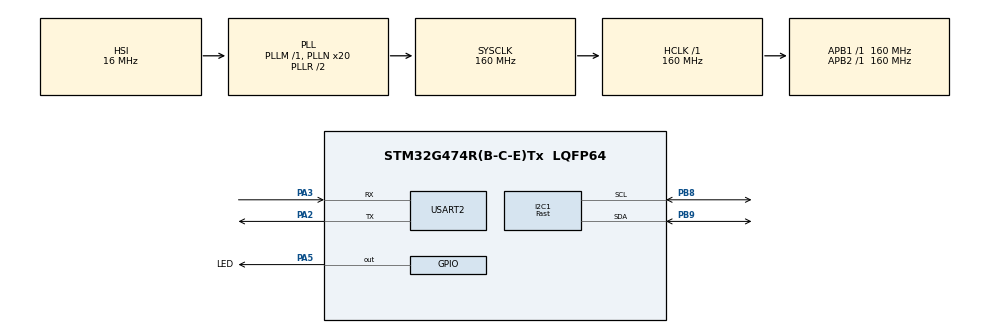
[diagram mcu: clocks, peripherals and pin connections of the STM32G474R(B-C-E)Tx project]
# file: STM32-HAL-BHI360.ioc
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I2C1.I2C_Speed_Mode=I2C_Fast
I2C1.Timing=0x00F07BFF
Mcu.Family=STM32G4
Mcu.Name=STM32G474R(B-C-E)Tx
Mcu.Package=LQFP64
NVIC.PriorityGroup=NVIC_PRIORITYGROUP_4
NVIC.TIM7_DAC_IRQn=true\:0\:0\:false\:false\:true\:true\:true\:true
PA13.Mode=Serial_Wire
PA13.Signal=SYS_JTMS-SWDIO
PA14.Mode=Serial_Wire
PA14.Signal=SYS_JTCK-SWCLK
PA2.Mode=Asynchronous
PA2.Signal=USART2_TX
PA3.Mode=Asynchronous
PA3.Signal=USART2_RX
PA5.GPIO_Label=LED
PA5.Signal=GPIO_Output
PB8-BOOT0.Mode=I2C
PB8-BOOT0.Signal=I2C1_SCL
PB9.Mode=I2C
PB9.Signal=I2C1_SDA
ProjectManager.HeapSize=0x2000
ProjectManager.StackSize=0x4000
ProjectManager.TargetToolchain=STM32CubeIDE
RCC.ADC12Freq_Value=160000000
RCC.ADC345Freq_Value=160000000
RCC.AHBFreq_Value=160000000
RCC.APB1Freq_Value=160000000
RCC.APB1TimFreq_Value=160000000
RCC.APB2Freq_Value=160000000
RCC.APB2TimFreq_Value=160000000
RCC.CortexFreq_Value=160000000
RCC.EXTERNAL_CLOCK_VALUE=12288000
RCC.HCLKFreq_Value=160000000
RCC.HSE_VALUE=8000000
RCC.HSI48_VALUE=48000000
RCC.HSI_VALUE=16000000
RCC.LSE_VALUE=32768
RCC.PLLN=20
RCC.SYSCLKFreq_VALUE=160000000
RCC.SYSCLKSource=RCC_SYSCLKSOURCE_PLLCLK
RCC.USBFreq_Value=160000000
RCC.VCOOutputFreq_Value=320000000
TIM7.PeriodNoDither=50000
TIM7.Prescaler=160
USART2.VirtualMode-Asynchronous=VM_ASYNC
VP_SYS_VS_DBSignals.Mode=DisableDeadBatterySignals
VP_TIM7_VS_ClockSourceINT.Mode=Enable_Timer
board=custom

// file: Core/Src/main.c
/* USER CODE BEGIN Header */
/**
  ******************************************************************************
  * @file           : main.c
  * @brief          : Main program body
  ******************************************************************************
  * @attention
  *
  * Copyright (c) 2024 STMicroelectronics.
  * All rights reserved.
  *
  * This software is licensed under terms that can be found in the LICENSE file
  * in the root directory of this software component.
  * If no LICENSE file comes with this software, it is provided AS-IS.
  *
  ******************************************************************************
  */
/* USER CODE END Header */
#include "main.h"

/* USER CODE BEGIN Includes */
#include <stdio.h>
#include <stdarg.h>

#include "common.h"
#include "bosch_imu.h"
/* USER CODE END Includes */

I2C_HandleTypeDef hi2c1;

TIM_HandleTypeDef htim7;

UART_HandleTypeDef huart2;

/* USER CODE BEGIN PV */
uint64_t TIM7_ITs = 0; // counter of microseconds timesource ITs

custom_printf_prt my_printf = NULL; // pointer to log output function

uint64_t last_result = 0;

uint8_t sensor_reports = 0;

extern float Heading;
extern float Pitch;
extern float Roll;

extern float acc_x;
extern float acc_y;
extern float acc_z;

extern float gyr_x;
extern float gyr_y;
extern float gyr_z;
/* USER CODE END PV */

void SystemClock_Config(void);
static void MX_GPIO_Init(void);
static void MX_I2C1_Init(void);
static void MX_TIM7_Init(void);
static void MX_USART2_UART_Init(void);
/* USER CODE BEGIN PFP */

void UART2_printf( const char * format, ... );
/* USER CODE END PFP */

int main(void)
{

  /* MCU Configuration--------------------------------------------------------*/

  /* Reset of all peripherals, Initializes the Flash interface and the Systick. */
  HAL_Init();

  /* Configure the system clock */
  SystemClock_Config();

  /* Initialize all configured peripherals */
  MX_GPIO_Init();
  MX_I2C1_Init();
  MX_TIM7_Init();
  MX_USART2_UART_Init();
  /* USER CODE BEGIN 2 */
  HAL_TIM_Base_Start_IT(&htim7); // enable microseconds timesource

  // assign desired log info output function
  my_printf = (custom_printf_prt)UART2_printf;
  //my_printf = (custom_printf_prt)printf;

  // clear the terminal screen
  uint8_t form_feed_char = 12;
  HAL_UART_Transmit(&huart2, &form_feed_char, 1, 100);

  bosch_imu_setup();
  /* USER CODE END 2 */

  /* Infinite loop */
  /* USER CODE BEGIN WHILE */
  while (1)
  {
    if( ( micros() - last_result ) > 2000 )
    {
      sensor_reports = 0;
    }

    // check if all three sensors did report
    if( sensor_reports == 7u )
    {
      // indicate successfull three sensors reading
      HAL_GPIO_WritePin(LED_GPIO_Port, LED_Pin, GPIO_PIN_SET);
      micros_delay( 100 );
      HAL_GPIO_WritePin(LED_GPIO_Port, LED_Pin, GPIO_PIN_RESET);

      // send the data
      my_printf("Euler:\t%4.2f %4.2f %4.2f \r\n", Heading, Pitch, Roll);
      my_printf("Accelerometer:\t%4.2f %4.2f %4.2f \r\n", acc_x, acc_y, acc_z);
      my_printf("Gyro:\t%4.2f %4.2f %4.2f \r\n", gyr_x, gyr_y, gyr_z);

      sensor_reports = 0;
    }

    bosch_imu_run();
    /* USER CODE END WHILE */

  }
}

void SystemClock_Config(void)
{
  RCC_OscInitTypeDef RCC_OscInitStruct = {0};
  RCC_ClkInitTypeDef RCC_ClkInitStruct = {0};

  /** Configure the main internal regulator output voltage
  */
  HAL_PWREx_ControlVoltageScaling(PWR_REGULATOR_VOLTAGE_SCALE1_BOOST);

  /** Initializes the RCC Oscillators according to the specified parameters
  * in the RCC_OscInitTypeDef structure.
  */
  RCC_OscInitStruct.OscillatorType = RCC_OSCILLATORTYPE_HSI;
  RCC_OscInitStruct.HSIState = RCC_HSI_ON;
  RCC_OscInitStruct.HSICalibrationValue = RCC_HSICALIBRATION_DEFAULT;
  RCC_OscInitStruct.PLL.PLLState = RCC_PLL_ON;
  RCC_OscInitStruct.PLL.PLLSource = RCC_PLLSOURCE_HSI;
  RCC_OscInitStruct.PLL.PLLM = RCC_PLLM_DIV1;
  RCC_OscInitStruct.PLL.PLLN = 20;
  RCC_OscInitStruct.PLL.PLLP = RCC_PLLP_DIV2;
  RCC_OscInitStruct.PLL.PLLQ = RCC_PLLQ_DIV2;
  RCC_OscInitStruct.PLL.PLLR = RCC_PLLR_DIV2;
  if (HAL_RCC_OscConfig(&RCC_OscInitStruct) != HAL_OK)
  {
    Error_Handler();
  }

  /** Initializes the CPU, AHB and APB buses clocks
  */
  RCC_ClkInitStruct.ClockType = RCC_CLOCKTYPE_HCLK|RCC_CLOCKTYPE_SYSCLK
                              |RCC_CLOCKTYPE_PCLK1|RCC_CLOCKTYPE_PCLK2;
  RCC_ClkInitStruct.SYSCLKSource = RCC_SYSCLKSOURCE_PLLCLK;
  RCC_ClkInitStruct.AHBCLKDivider = RCC_SYSCLK_DIV1;
  RCC_ClkInitStruct.APB1CLKDivider = RCC_HCLK_DIV1;
  RCC_ClkInitStruct.APB2CLKDivider = RCC_HCLK_DIV1;

  if (HAL_RCC_ClockConfig(&RCC_ClkInitStruct, FLASH_LATENCY_4) != HAL_OK)
  {
    Error_Handler();
  }
}

static void MX_I2C1_Init(void)
{

  hi2c1.Instance = I2C1;
  hi2c1.Init.Timing = 0x00F07BFF;
  hi2c1.Init.OwnAddress1 = 0;
  hi2c1.Init.AddressingMode = I2C_ADDRESSINGMODE_7BIT;
  hi2c1.Init.DualAddressMode = I2C_DUALADDRESS_DISABLE;
  hi2c1.Init.OwnAddress2 = 0;
  hi2c1.Init.OwnAddress2Masks = I2C_OA2_NOMASK;
  hi2c1.Init.GeneralCallMode = I2C_GENERALCALL_DISABLE;
  hi2c1.Init.NoStretchMode = I2C_NOSTRETCH_DISABLE;
  if (HAL_I2C_Init(&hi2c1) != HAL_OK)
  {
    Error_Handler();
  }

  /** Configure Analogue filter
  */
  if (HAL_I2CEx_ConfigAnalogFilter(&hi2c1, I2C_ANALOGFILTER_ENABLE) != HAL_OK)
  {
    Error_Handler();
  }

  /** Configure Digital filter
  */
  if (HAL_I2CEx_ConfigDigitalFilter(&hi2c1, 0) != HAL_OK)
  {
    Error_Handler();
  }

}

static void MX_TIM7_Init(void)
{

  TIM_MasterConfigTypeDef sMasterConfig = {0};

  htim7.Instance = TIM7;
  htim7.Init.Prescaler = 160;
  htim7.Init.CounterMode = TIM_COUNTERMODE_UP;
  htim7.Init.Period = 50000;
  htim7.Init.AutoReloadPreload = TIM_AUTORELOAD_PRELOAD_DISABLE;
  if (HAL_TIM_Base_Init(&htim7) != HAL_OK)
  {
    Error_Handler();
  }
  sMasterConfig.MasterOutputTrigger = TIM_TRGO_RESET;
  sMasterConfig.MasterSlaveMode = TIM_MASTERSLAVEMODE_DISABLE;
  if (HAL_TIMEx_MasterConfigSynchronization(&htim7, &sMasterConfig) != HAL_OK)
  {
    Error_Handler();
  }

}

static void MX_USART2_UART_Init(void)
{

  huart2.Instance = USART2;
  huart2.Init.BaudRate = 115200;
  huart2.Init.WordLength = UART_WORDLENGTH_8B;
  huart2.Init.StopBits = UART_STOPBITS_1;
  huart2.Init.Parity = UART_PARITY_NONE;
  huart2.Init.Mode = UART_MODE_TX_RX;
  huart2.Init.HwFlowCtl = UART_HWCONTROL_NONE;
  huart2.Init.OverSampling = UART_OVERSAMPLING_16;
  huart2.Init.OneBitSampling = UART_ONE_BIT_SAMPLE_DISABLE;
  huart2.Init.ClockPrescaler = UART_PRESCALER_DIV1;
  huart2.AdvancedInit.AdvFeatureInit = UART_ADVFEATURE_NO_INIT;
  if (HAL_UART_Init(&huart2) != HAL_OK)
  {
    Error_Handler();
  }
  if (HAL_UARTEx_SetTxFifoThreshold(&huart2, UART_TXFIFO_THRESHOLD_1_8) != HAL_OK)
  {
    Error_Handler();
  }
  if (HAL_UARTEx_SetRxFifoThreshold(&huart2, UART_RXFIFO_THRESHOLD_1_8) != HAL_OK)
  {
    Error_Handler();
  }
  if (HAL_UARTEx_DisableFifoMode(&huart2) != HAL_OK)
  {
    Error_Handler();
  }

}

static void MX_GPIO_Init(void)
{
  GPIO_InitTypeDef GPIO_InitStruct = {0};

  /* GPIO Ports Clock Enable */
  __HAL_RCC_GPIOA_CLK_ENABLE();
  __HAL_RCC_GPIOB_CLK_ENABLE();

  /*Configure GPIO pin Output Level */
  HAL_GPIO_WritePin(LED_GPIO_Port, LED_Pin, GPIO_PIN_RESET);

  /*Configure GPIO pin : LED_Pin */
  GPIO_InitStruct.Pin = LED_Pin;
  GPIO_InitStruct.Mode = GPIO_MODE_OUTPUT_PP;
  GPIO_InitStruct.Pull = GPIO_NOPULL;
  GPIO_InitStruct.Speed = GPIO_SPEED_FREQ_LOW;
  HAL_GPIO_Init(LED_GPIO_Port, &GPIO_InitStruct);

}

/* USER CODE BEGIN 4 */
/*
int8_t bhy2_spi_read(uint8_t reg_addr, uint8_t *reg_data, uint32_t length, void *intf_ptr)
{
    (void)intf_ptr;

    return coines_read_spi(COINES_SPI_BUS_0, cs_pin, reg_addr, reg_data, (uint16_t)length);
}

int8_t bhy2_spi_write(uint8_t reg_addr, const uint8_t *reg_data, uint32_t length, void *intf_ptr)
{
    (void)intf_ptr;

    return coines_write_spi(COINES_SPI_BUS_0, cs_pin, reg_addr, (uint8_t *)reg_data, (uint16_t)length);
}
*/

int8_t bhy2_i2c_read(uint8_t reg_addr, uint8_t *reg_data, uint32_t length, void *intf_ptr)
{
  (void)intf_ptr;

  if( HAL_I2C_Mem_Read(&hi2c1, 0x28<<1, reg_addr, I2C_MEMADD_SIZE_8BIT, reg_data, (uint16_t)length, 100) == HAL_OK )
  {
    return 0;
  }
  else
  {
    return 1;
  }
}

int8_t bhy2_i2c_write(uint8_t reg_addr,const uint8_t *reg_data, uint32_t length, void *intf_ptr)
{
  (void)intf_ptr;

  if( HAL_I2C_Mem_Write(&hi2c1, 0x28<<1, reg_addr, I2C_MEMADD_SIZE_8BIT, (uint8_t *)reg_data, (uint16_t)length, 100) == HAL_OK )
  {
    return 0;
  }
  else
  {
    return 1;
  }
}

void bhy2_delay_us(uint32_t us, void *private_data)
{
  (void)private_data;
  micros_delay( (uint64_t)us );
}

void HAL_TIM_PeriodElapsedCallback(TIM_HandleTypeDef *htim)
{
  if( htim->Instance == TIM7 )
  {
    TIM7_ITs++;
  }
}

#pragma optimize s=none
uint64_t micros(void)
{
  return (uint64_t)(__HAL_TIM_GET_COUNTER(&htim7) + 50000u * TIM7_ITs);
}

#pragma optimize s=none
void micros_delay( uint64_t delay )
{
  uint64_t timestamp = micros();
  while( micros() < timestamp + delay );
}

void UART2_printf( const char * format, ... )
{
  char buffer[256] = {0};
  va_list args;
  va_start (args, format);
  int len = vsprintf (buffer,format, args);
  va_end (args);

  HAL_UART_Transmit(&huart2, (const uint8_t*)buffer, len, 100);
}
/* USER CODE END 4 */

void Error_Handler(void)
{
  /* USER CODE BEGIN Error_Handler_Debug */
  /* User can add his own implementation to report the HAL error return state */
  my_printf("I've fallen into Error Handler");
  __disable_irq();
  while (1)
  {
  }
  /* USER CODE END Error_Handler_Debug */
}
